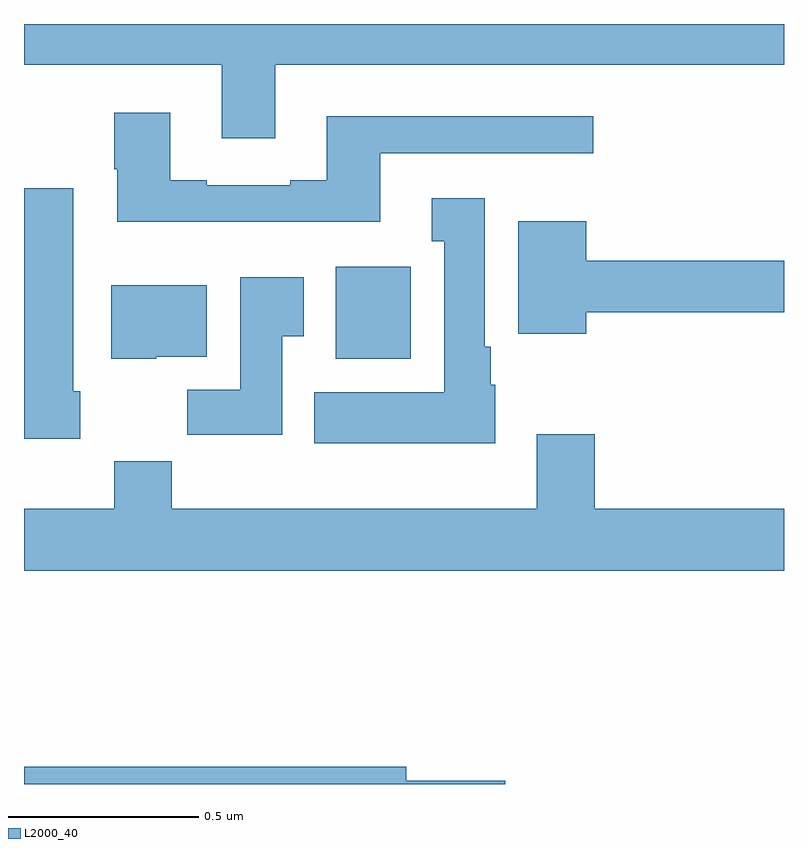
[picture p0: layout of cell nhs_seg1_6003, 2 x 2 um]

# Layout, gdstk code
import gdstk
lib = gdstk.Library(unit=1e-6, precision=1e-09)
def R(c, l, rs):  # rectangles x0, y0, x1, y1
    for r in rs: c.add(gdstk.rectangle(r[:2], r[2:], *l))
def P(c, l, *ps):  # polygons
    for p in ps: c.add(gdstk.Polygon(p, *l))
L2000_40 = (2000, 40)

nhs_seg1_6003 = lib.new_cell('nhs_seg1_6003')
R(nhs_seg1_6003, L2000_40, [(186.821,524.318,187.018,524.56)])
P(nhs_seg1_6003, L2000_40, [(186.661,525.092),(188,525.092),(188,525.199),(186,525.199),(186,525.092),(186.521,525.092),(186.521,524.898),(186.661,524.898)],
  [(186.937,524.859),(187.498,524.859),(187.498,524.956),(186.797,524.956),(186.797,524.788),(186.701,524.788),(186.701,524.775),(186.481,524.775),(186.481,524.788),(186.385,524.788),(186.385,524.965),(186.238,524.965),(186.238,524.817),(186.245,524.817),(186.245,524.678),(186.937,524.678)],
  [(186.148,524.232),(186.13,524.232),(186.13,524.767),(186,524.767),(186,524.108),(186.148,524.108)],
  [(187.24,524.25),(187.228,524.25),(187.228,524.35),(187.213,524.35),(187.213,524.74),(187.073,524.74),(187.073,524.627),(187.106,524.627),(187.106,524.23),(186.764,524.23),(186.764,524.096),(187.24,524.096)],
  [(187.48,524.44),(188,524.44),(188,524.576),(187.48,524.576),(187.48,524.68),(187.301,524.68),(187.301,524.384),(187.48,524.384)],
  [(186.679,524.377),(186.736,524.377),(186.736,524.533),(186.569,524.533),(186.569,524.236),(186.43,524.236),(186.43,524.118),(186.679,524.118)],
  [(186.348,524.324),(186.481,524.324),(186.481,524.512),(186.23,524.512),(186.23,524.318),(186.348,524.318)],
  [(188,523.924),(187.502,523.924),(187.502,524.119),(187.349,524.119),(187.349,523.924),(186.389,523.924),(186.389,524.048),(186.238,524.048),(186.238,523.924),(186,523.924),(186,523.76),(188,523.76)],
  [(187.267,523.208),(187.006,523.208),(187.006,523.244),(186,523.244),(186,523.199),(187.267,523.199)])

lib.write_gds('nhs_seg1_6003.gds')
